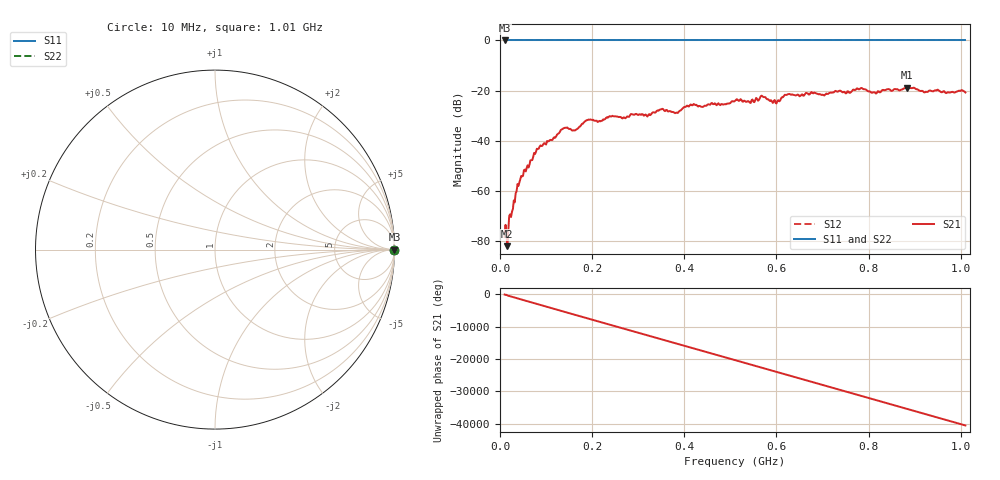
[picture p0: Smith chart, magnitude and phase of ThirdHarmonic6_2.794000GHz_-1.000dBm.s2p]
! 8/17/2025 7:14:37 AM
! C:\ANRITSUVNA\TEMP\TEMP.S2P
! CHANNEL.1
! TR.MEASUREMENT
! RAW.DATA
! RF.CORRECTION.OFF
! AVERAGING.OFF
! IF.BANDWIDTH: 5KHZ
! SWEEPTYPE:  FREQ.SWEEP(Linear)
! Reference Plane Port Info
! PORT:  PORT1  PORT2
! DISTANCE:  0  m  0  m
! TIME:  0  s  0  s
! PHASE.OFFSET:  0  deg.  0  deg.
! LOSS:  0  dB  0  dB
! REF.LOSS:  0  dB  0  dB
! REF.FREQ:  0  Hz  0  Hz
! Power Info
! POWER:  -20  dBm  -20  dBm
! EFF.POWER:  -20  dBm  -20  dBm
! SOURCE.ATTEN:  0  dB  0  dB
! TEST.ATTEN:  0  dB  0  dB
# GHZ S RI R 50.0
! FREQ.GHZ  S11RE  S11IM  S21RE  S21IM  S12RE  S12IM  S22RE  S22IM
!; PortSelection: Port_12
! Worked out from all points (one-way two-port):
!   501 points, 10 MHz to 1.01 GHz, reference 50 ohm
!   highest |S21| = -18.76 dB at 884 MHz (marker M1); lowest = -82.0 dB at 16 MHz (marker M2)
!   lowest |S11| = 0.0 dB at 10 MHz (marker M3)
!   |S11| at or under -10 dB: nowhere
!   |S22| runs from 0.0 to 0.0 dB; largest |S21 - S12| = 1.1
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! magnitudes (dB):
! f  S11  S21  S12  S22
! 10 MHz  0.0  -78.4  0.0  0.0
! 16 MHz  0.0  -82.0  0.0  0.0
! 42 MHz  0.0  -56.7  0.0  0.0
! 78 MHz  0.0  -44.4  0.0  0.0
! 136 MHz  0.0  -35.3  0.0  0.0
! 162 MHz  0.0  -35.9  0.0  0.0
! 178 MHz  0.0  -33.2  0.0  0.0
! 192 MHz  0.0  -31.5  0.0  0.0
! 322 MHz  0.0  -29.6  0.0  0.0
! 344 MHz  0.0  -28.0  0.0  0.0
! 382 MHz  0.0  -28.8  0.0  0.0
! 416 MHz  0.0  -25.8  0.0  0.0
! 510 MHz  0.0  -24.1  0.0  0.0
! 540 MHz  0.0  -24.3  0.0  0.0
! 570 MHz  0.0  -22.3  0.0  0.0
! 596 MHz  0.0  -23.7  0.0  0.0
! 622 MHz  0.0  -21.7  0.0  0.0
! 678 MHz  0.0  -21.0  0.0  0.0
! 844 MHz  0.0  -19.4  0.0  0.0
! 884 MHz  0.0  -18.8  0.0  0.0
! 924 MHz  0.0  -20.4  0.0  0.0
! 1.01 GHz  0.0  -20.7  0.0  0.0
